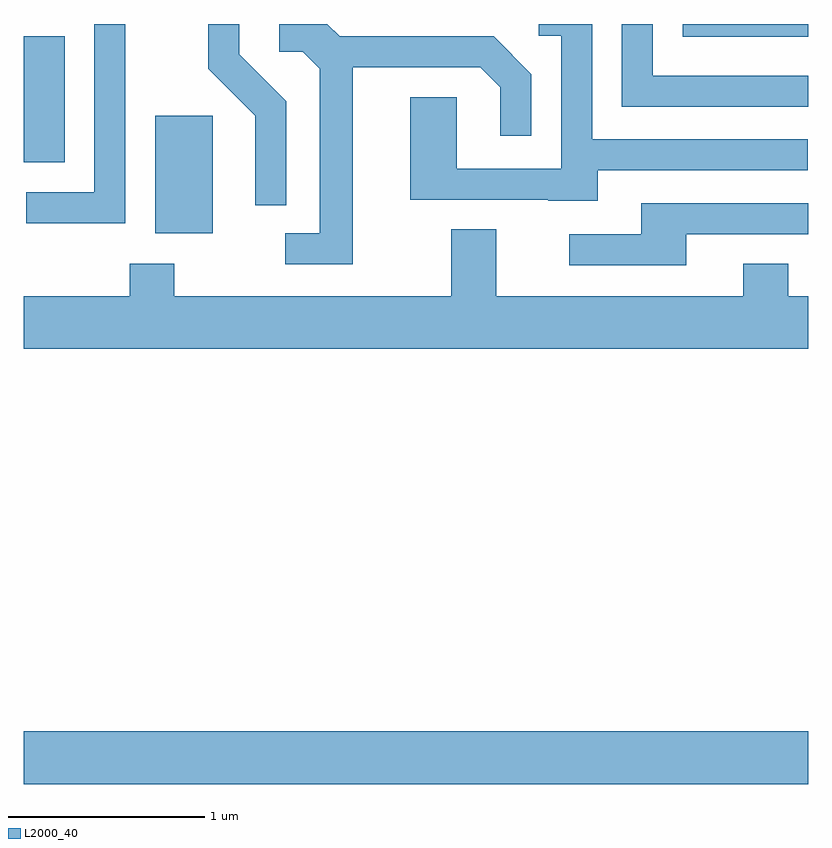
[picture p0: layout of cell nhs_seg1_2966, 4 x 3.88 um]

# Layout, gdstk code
import gdstk
lib = gdstk.Library(unit=1e-6, precision=1e-09)
def R(c, l, rs):  # rectangles x0, y0, x1, y1
    for r in rs: c.add(gdstk.rectangle(r[:2], r[2:], *l))
def P(c, l, *ps):  # polygons
    for p in ps: c.add(gdstk.Polygon(p, *l))
L2000_40 = (2000, 40)

nhs_seg1_2966 = lib.new_cell('nhs_seg1_2966')
R(nhs_seg1_2966, L2000_40, [(275.611,861.836,279.611,862.104), (276.281,864.646,276.574,865.244), (275.611,865.006,275.819,865.649), (278.971,865.646,279.611,865.712)])
P(nhs_seg1_2966, L2000_40, [(278.539,864.966),(279.608,864.966),(279.608,865.124),(278.509,865.124),(278.509,865.712),(278.238,865.712),(278.238,865.651),(278.351,865.651),(278.351,864.974),(277.819,864.974),(277.819,865.339),(277.581,865.339),(277.581,864.816),(278.285,864.816),(278.285,864.811),(278.539,864.811)],
  [(276.129,865.712),(275.971,865.712),(275.971,864.854),(275.623,864.854),(275.623,864.696),(276.129,864.696)],
  [(276.949,865.317),(276.709,865.557),(276.709,865.712),(276.551,865.712),(276.551,865.484),(276.791,865.244),(276.791,864.788),(276.949,864.788)],
  [(279.611,865.449),(278.819,865.449),(278.819,865.712),(278.661,865.712),(278.661,865.291),(279.611,865.291)],
  [(277.289,865.491),(277.939,865.491),(278.041,865.389),(278.041,865.143),(278.199,865.143),(278.199,865.457),(278.007,865.649),(277.222,865.649),(277.159,865.712),(276.913,865.712),(276.913,865.571),(277.034,865.571),(277.121,865.484),(277.121,864.644),(276.943,864.644),(276.943,864.486),(277.289,864.486)],
  [(278.989,864.641),(279.611,864.641),(279.611,864.799),(278.761,864.799),(278.761,864.639),(278.393,864.639),(278.393,864.481),(278.989,864.481)],
  [(279.611,864.324),(279.509,864.324),(279.509,864.489),(279.281,864.489),(279.281,864.324),(278.019,864.324),(278.019,864.664),(277.791,864.664),(277.791,864.324),(276.379,864.324),(276.379,864.489),(276.151,864.489),(276.151,864.324),(275.611,864.324),(275.611,864.056),(279.611,864.056)])

lib.write_gds('nhs_seg1_2966.gds')
